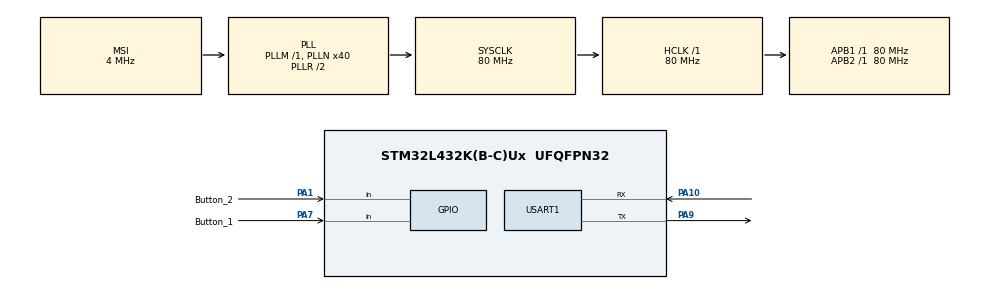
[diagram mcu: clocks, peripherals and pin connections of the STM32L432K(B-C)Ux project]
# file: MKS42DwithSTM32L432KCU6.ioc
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Mcu.Family=STM32L4
Mcu.Name=STM32L432K(B-C)Ux
Mcu.Package=UFQFPN32
NVIC.PriorityGroup=NVIC_PRIORITYGROUP_4
NVIC.TIM6_DAC_IRQn=true\:11\:0\:true\:false\:true\:true\:true\:true
NVIC.USART1_IRQn=true\:10\:0\:true\:false\:true\:true\:true\:true
PA1.GPIO_Label=Button_2
PA1.Signal=GPIO_Input
PA10.GPIO_PuPd=GPIO_PULLUP
PA10.Mode=Asynchronous
PA10.Signal=USART1_RX
PA7.GPIO_Label=Button_1
PA7.Signal=GPIO_Input
PA9.Mode=Asynchronous
PA9.Signal=USART1_TX
ProjectManager.HeapSize=0x200
ProjectManager.StackSize=0x400
ProjectManager.TargetToolchain=STM32CubeIDE
RCC.AHBFreq_Value=80000000
RCC.APB1Freq_Value=80000000
RCC.APB1TimFreq_Value=80000000
RCC.APB2Freq_Value=80000000
RCC.APB2TimFreq_Value=80000000
RCC.CortexFreq_Value=80000000
RCC.HCLKFreq_Value=80000000
RCC.HSE_VALUE=8000000
RCC.HSI48_VALUE=48000000
RCC.HSI_VALUE=16000000
RCC.LSE_VALUE=32768
RCC.MSI_VALUE=4000000
RCC.PLLN=40
RCC.SYSCLKFreq_VALUE=80000000
RCC.SYSCLKSource=RCC_SYSCLKSOURCE_PLLCLK
RCC.VCOOutputFreq_Value=160000000
TIM6.Period=9999
TIM6.Prescaler=1599
USART1.VirtualMode-Asynchronous=VM_ASYNC
VP_TIM6_VS_ClockSourceINT.Mode=Enable_Timer
board=custom

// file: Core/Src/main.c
/* USER CODE BEGIN Header */
/**
  ******************************************************************************
  * @file           : main.c
  * @brief          : Main program body
  ******************************************************************************
  * @attention
  *
  * Copyright (c) 2024 STMicroelectronics.
  * All rights reserved.
  *
  * This software is licensed under terms that can be found in the LICENSE file
  * in the root directory of this software component.
  * If no LICENSE file comes with this software, it is provided AS-IS.
  *
  ******************************************************************************
  */
/* USER CODE END Header */
#include "main.h"
#include "tim.h"
#include "usart.h"
#include "gpio.h"

/* USER CODE BEGIN Includes */
#include <stdbool.h>
#include "string.h"
/* USER CODE END Includes */

void SystemClock_Config(void);

/* USER CODE BEGIN 0 */
extern bool flag;
extern enum UART_status statuss;
extern uint8_t tester;
extern uint8_t transmit[8];
extern uint8_t receive[9];
extern uint8_t buff[2];
extern uint8_t indx;
extern uint16_t encoder_value;
extern int32_t encoder_rotations;
extern float angle_en;
extern int32_t read_rotation;
extern float angle;
extern int16_t read_error;
extern float angle_err;
bool is_pressed;
/* USER CODE END 0 */

int main(void)
{

  /* MCU Configuration--------------------------------------------------------*/

  /* Reset of all peripherals, Initializes the Flash interface and the Systick. */
  HAL_Init();

  /* Configure the system clock */
  SystemClock_Config();

  /* Initialize all configured peripherals */
  MX_GPIO_Init();
  MX_USART1_UART_Init();
  MX_TIM6_Init();
  /* USER CODE BEGIN 2 */
  MKS_init();
  MKS_set_rotation_speed_F(94, true);
  /* USER CODE END 2 */

  /* Infinite loop */
  /* USER CODE BEGIN WHILE */
  while (1)
  {
//	  if(read_rotation < 400000 && read_rotation > -400000){
//		  //MKS_rotate(18, 15, flag);
//		  MKS_set_rotation_speed_F(10, flag);
//		  //HAL_Delay(10);
//	  }
//	  MKS_read_param(Position_angle, Position_angle_length);
//	  read_rotation = (int32_t)((receive[1] << 24) + (receive[2] << 16) + (receive[3] << 8) + receive[4]);
//	  angle = (float)(read_rotation)/(encoder_quality/one_rotation_in_degrees);
	  MKS_read_param_F(Position_error, Position_error_length);
	  read_error = (int16_t)((receive[1] << 8) + (receive[2]));
	  angle_err = (float)(read_error)/(encoder_quality/one_rotation_in_degrees);
	  MKS_read_param_F(En_value, En_value_length);
	  HAL_Delay(3);
	  encoder_rotations = (int32_t)((receive[1] << 24) + (receive[2] << 16) + (receive[3] << 8) + receive[4]);
	  encoder_value = (uint16_t)((receive[5] << 8) + receive[6]);
	  angle_en = (float)(encoder_value)/(encoder_quality/one_rotation_in_degrees);
//	  if(encoder_rotations >= 1){
//		  flag = true;
//		  if(HAL_GPIO_ReadPin(Button_1_GPIO_Port, Button_1_Pin) == GPIO_PIN_RESET){
//			  MKS_stop_F();
//		  }else{
//			  MKS_set_rotation_speed_F(94, flag);
//		  }
//	  }
//	  if(encoder_rotations <= -1){
//		  flag = false;
//		  if(HAL_GPIO_ReadPin(Button_1_GPIO_Port, Button_1_Pin) == GPIO_PIN_RESET){
//			  MKS_stop_F();
//		  }else{
//		  MKS_set_rotation_speed_F(94, flag);
//		  }
//	  }

	  if(HAL_GPIO_ReadPin(Button_1_GPIO_Port, Button_1_Pin) == GPIO_PIN_RESET){
		  flag = false;
		  MKS_set_rotation_speed_F(94, flag);
	  }else{
		  if(HAL_GPIO_ReadPin(Button_2_GPIO_Port, Button_2_Pin) == GPIO_PIN_RESET){
			  flag = true;
			  MKS_set_rotation_speed_F(94, flag);
		  }else{
			  MKS_stop_F();
		  }
	  }

//	  if(HAL_GPIO_ReadPin(Button_1_GPIO_Port, Button_1_Pin) == GPIO_PIN_RESET){
//		  MKS_stop_F();
//	  }
	  if(encoder_rotations >= 20 || encoder_rotations <= -20){
		  MKS_stop_F();
		  MKS_set_param_F(Enable_move, 0);
	  }
    /* USER CODE END WHILE */

  }
}

void SystemClock_Config(void)
{
  RCC_OscInitTypeDef RCC_OscInitStruct = {0};
  RCC_ClkInitTypeDef RCC_ClkInitStruct = {0};

  /** Configure the main internal regulator output voltage
  */
  if (HAL_PWREx_ControlVoltageScaling(PWR_REGULATOR_VOLTAGE_SCALE1) != HAL_OK)
  {
    Error_Handler();
  }

  /** Initializes the RCC Oscillators according to the specified parameters
  * in the RCC_OscInitTypeDef structure.
  */
  RCC_OscInitStruct.OscillatorType = RCC_OSCILLATORTYPE_MSI;
  RCC_OscInitStruct.MSIState = RCC_MSI_ON;
  RCC_OscInitStruct.MSICalibrationValue = 0;
  RCC_OscInitStruct.MSIClockRange = RCC_MSIRANGE_6;
  RCC_OscInitStruct.PLL.PLLState = RCC_PLL_ON;
  RCC_OscInitStruct.PLL.PLLSource = RCC_PLLSOURCE_MSI;
  RCC_OscInitStruct.PLL.PLLM = 1;
  RCC_OscInitStruct.PLL.PLLN = 40;
  RCC_OscInitStruct.PLL.PLLP = RCC_PLLP_DIV7;
  RCC_OscInitStruct.PLL.PLLQ = RCC_PLLQ_DIV2;
  RCC_OscInitStruct.PLL.PLLR = RCC_PLLR_DIV2;
  if (HAL_RCC_OscConfig(&RCC_OscInitStruct) != HAL_OK)
  {
    Error_Handler();
  }

  /** Initializes the CPU, AHB and APB buses clocks
  */
  RCC_ClkInitStruct.ClockType = RCC_CLOCKTYPE_HCLK|RCC_CLOCKTYPE_SYSCLK
                              |RCC_CLOCKTYPE_PCLK1|RCC_CLOCKTYPE_PCLK2;
  RCC_ClkInitStruct.SYSCLKSource = RCC_SYSCLKSOURCE_PLLCLK;
  RCC_ClkInitStruct.AHBCLKDivider = RCC_SYSCLK_DIV1;
  RCC_ClkInitStruct.APB1CLKDivider = RCC_HCLK_DIV1;
  RCC_ClkInitStruct.APB2CLKDivider = RCC_HCLK_DIV1;

  if (HAL_RCC_ClockConfig(&RCC_ClkInitStruct, FLASH_LATENCY_4) != HAL_OK)
  {
    Error_Handler();
  }
}

void Error_Handler(void)
{
  __disable_irq();
  while (1)
  {
  }
}
